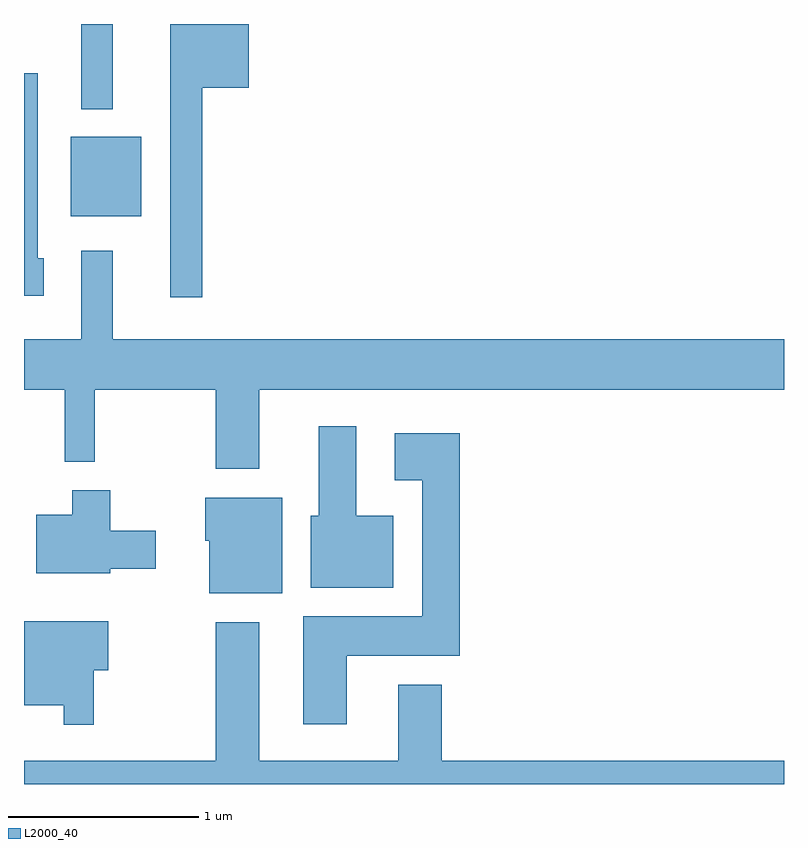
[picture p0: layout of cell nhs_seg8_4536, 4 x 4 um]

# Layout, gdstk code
import gdstk
lib = gdstk.Library(unit=1e-6, precision=1e-09)
def R(c, l, rs):  # rectangles x0, y0, x1, y1
    for r in rs: c.add(gdstk.rectangle(r[:2], r[2:], *l))
def P(c, l, *ps):  # polygons
    for p in ps: c.add(gdstk.Polygon(p, *l))
L2000_40 = (2000, 40)

nhs_seg8_4536 = lib.new_cell('nhs_seg8_4536')
R(nhs_seg8_4536, L2000_40, [(321.856,1837.331,322.229,1837.749), (321.911,1837.893,322.079,1838.342)])
P(nhs_seg8_4536, L2000_40, [(322.549,1838.006),(322.794,1838.006),(322.794,1838.342),(322.381,1838.342),(322.381,1836.903),(322.549,1836.903)],
  [(321.714,1837.109),(321.684,1837.109),(321.684,1838.084),(321.611,1838.084),(321.611,1836.911),(321.714,1836.911)],
  [(322.849,1836.416),(325.611,1836.416),(325.611,1836.684),(322.079,1836.684),(322.079,1837.148),(321.911,1837.148),(321.911,1836.684),(321.611,1836.684),(321.611,1836.416),(321.826,1836.416),(321.826,1836.038),(321.984,1836.038),(321.984,1836.416),(322.621,1836.416),(322.621,1836.001),(322.849,1836.001)],
  [(323.554,1835.754),(323.359,1835.754),(323.359,1836.224),(323.161,1836.224),(323.161,1835.754),(323.121,1835.754),(323.121,1835.376),(323.554,1835.376)],
  [(323.309,1835.016),(323.904,1835.016),(323.904,1836.189),(323.561,1836.189),(323.561,1835.941),(323.706,1835.941),(323.706,1835.224),(323.081,1835.224),(323.081,1834.656),(323.309,1834.656)],
  [(322.064,1835.476),(322.304,1835.476),(322.304,1835.674),(322.064,1835.674),(322.064,1835.889),(321.866,1835.889),(321.866,1835.759),(321.676,1835.759),(321.676,1835.451),(322.064,1835.451)],
  [(322.969,1835.849),(322.566,1835.849),(322.566,1835.621),(322.586,1835.621),(322.586,1835.346),(322.969,1835.346)],
  [(321.979,1834.941),(322.054,1834.941),(322.054,1835.199),(321.611,1835.199),(321.611,1834.756),(321.821,1834.756),(321.821,1834.653),(321.979,1834.653)],
  [(325.611,1834.464),(323.809,1834.464),(323.809,1834.864),(323.581,1834.864),(323.581,1834.464),(322.849,1834.464),(322.849,1835.194),(322.621,1835.194),(322.621,1834.464),(321.611,1834.464),(321.611,1834.342),(325.611,1834.342)])

lib.write_gds('nhs_seg8_4536.gds')
